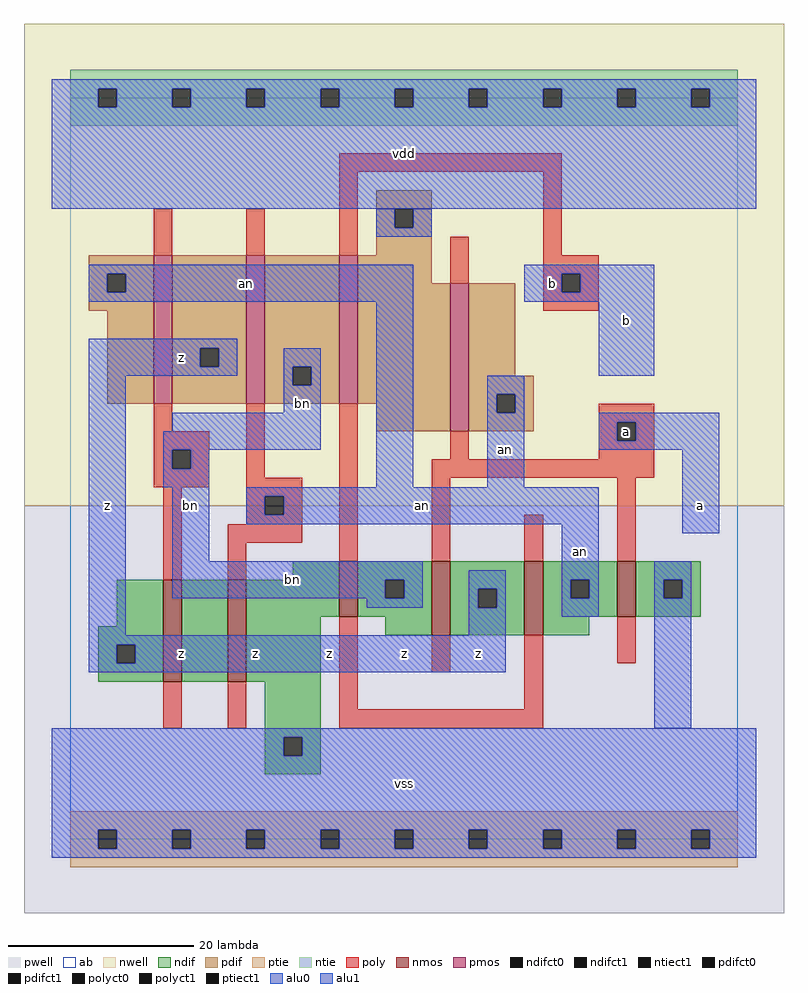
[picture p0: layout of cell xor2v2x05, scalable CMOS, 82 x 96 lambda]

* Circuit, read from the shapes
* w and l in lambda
.subckt xor2v2x05 a an b bn vdd vss z
M1 n1 bn z vss nfet w=11 l=2
M2 vss an n1 vss nfet w=11 l=2
M3 bn b vss vss nfet w=6 l=2
M4 z a bn vss nfet w=8 l=2
M5 an b z vss nfet w=8 l=2
M6 vss a an vss nfet w=6 l=2
M7 z bn an vdd pfet w=16 l=2
M8 bn an z vdd pfet w=16 l=2
M9 vdd b bn vdd pfet w=16 l=2
M10 an a vdd vdd pfet w=16 l=2
.ends

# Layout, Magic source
magic
tech scmos
<< ab >>
rect 0 0 72 80
<< nwell >>
rect -5 36 77 88
<< pwell >>
rect -5 -8 77 36
<< poly >>
rect 29 72 53 74
rect 9 63 11 68
rect 19 63 21 68
rect 29 63 31 72
rect 41 60 43 65
rect 51 63 53 72
rect 51 61 57 63
rect 9 44 11 47
rect 9 42 15 44
rect 9 40 11 42
rect 13 40 15 42
rect 9 38 15 40
rect 19 39 21 47
rect 10 28 12 38
rect 19 37 25 39
rect 19 35 21 37
rect 23 35 25 37
rect 19 34 25 35
rect 17 32 25 34
rect 17 28 19 32
rect 29 30 31 47
rect 51 59 53 61
rect 55 59 57 61
rect 51 57 57 59
rect 57 45 63 47
rect 41 41 43 44
rect 57 43 59 45
rect 61 43 63 45
rect 57 41 63 43
rect 39 39 63 41
rect 39 30 41 39
rect 49 30 51 35
rect 59 30 61 39
rect 10 12 12 17
rect 17 12 19 17
rect 29 14 31 24
rect 39 18 41 22
rect 49 14 51 22
rect 59 19 61 24
rect 29 12 51 14
<< ndif >>
rect 24 28 29 30
rect 5 23 10 28
rect 3 21 10 23
rect 3 19 5 21
rect 7 19 10 21
rect 3 17 10 19
rect 12 17 17 28
rect 19 24 29 28
rect 31 28 39 30
rect 31 26 34 28
rect 36 26 39 28
rect 31 24 39 26
rect 19 17 27 24
rect 21 11 27 17
rect 34 22 39 24
rect 41 27 49 30
rect 41 25 44 27
rect 46 25 49 27
rect 41 22 49 25
rect 51 28 59 30
rect 51 26 54 28
rect 56 26 59 28
rect 51 24 59 26
rect 61 28 68 30
rect 61 26 64 28
rect 66 26 68 28
rect 61 24 68 26
rect 51 22 56 24
rect 21 9 23 11
rect 25 9 27 11
rect 21 7 27 9
<< pdif >>
rect 33 68 39 70
rect 33 66 35 68
rect 37 66 39 68
rect 33 63 39 66
rect 2 61 9 63
rect 2 59 4 61
rect 6 59 9 61
rect 2 57 9 59
rect 4 47 9 57
rect 11 53 19 63
rect 11 51 14 53
rect 16 51 19 53
rect 11 47 19 51
rect 21 51 29 63
rect 21 49 24 51
rect 26 49 29 51
rect 21 47 29 49
rect 31 60 39 63
rect 31 47 41 60
rect 33 44 41 47
rect 43 50 48 60
rect 43 48 50 50
rect 43 46 46 48
rect 48 46 50 48
rect 43 44 50 46
<< alu1 >>
rect -2 81 74 82
rect -2 79 3 81
rect 5 79 11 81
rect 13 79 19 81
rect 21 79 27 81
rect 29 79 35 81
rect 37 79 43 81
rect 45 79 51 81
rect 53 79 59 81
rect 61 79 67 81
rect 69 79 74 81
rect -2 68 74 79
rect 49 61 63 62
rect 49 59 53 61
rect 55 59 63 61
rect 49 58 63 59
rect 2 53 18 54
rect 2 51 14 53
rect 16 51 18 53
rect 2 50 18 51
rect 2 22 6 50
rect 57 50 63 58
rect 57 45 70 46
rect 57 43 59 45
rect 61 43 70 45
rect 57 42 70 43
rect 43 27 47 29
rect 43 25 44 27
rect 46 25 47 27
rect 43 22 47 25
rect 66 33 70 42
rect 2 21 47 22
rect 2 19 5 21
rect 7 19 47 21
rect 2 18 47 19
rect -2 11 74 12
rect -2 9 23 11
rect 25 9 74 11
rect -2 1 74 9
rect -2 -1 3 1
rect 5 -1 11 1
rect 13 -1 19 1
rect 21 -1 27 1
rect 29 -1 35 1
rect 37 -1 43 1
rect 45 -1 51 1
rect 53 -1 59 1
rect 61 -1 67 1
rect 69 -1 74 1
rect -2 -2 74 -1
<< ptie >>
rect 0 1 72 3
rect 0 -1 3 1
rect 5 -1 11 1
rect 13 -1 19 1
rect 21 -1 27 1
rect 29 -1 35 1
rect 37 -1 43 1
rect 45 -1 51 1
rect 53 -1 59 1
rect 61 -1 67 1
rect 69 -1 72 1
rect 0 -3 72 -1
<< ntie >>
rect 0 81 72 83
rect 0 79 3 81
rect 5 79 11 81
rect 13 79 19 81
rect 21 79 27 81
rect 29 79 35 81
rect 37 79 43 81
rect 45 79 51 81
rect 53 79 59 81
rect 61 79 67 81
rect 69 79 72 81
rect 0 77 72 79
<< nmos >>
rect 10 17 12 28
rect 17 17 19 28
rect 29 24 31 30
rect 39 22 41 30
rect 49 22 51 30
rect 59 24 61 30
<< pmos >>
rect 9 47 11 63
rect 19 47 21 63
rect 29 47 31 63
rect 41 44 43 60
<< polyct0 >>
rect 11 40 13 42
rect 21 35 23 37
<< polyct1 >>
rect 53 59 55 61
rect 59 43 61 45
<< ndifct0 >>
rect 34 26 36 28
rect 54 26 56 28
rect 64 26 66 28
<< ndifct1 >>
rect 5 19 7 21
rect 44 25 46 27
rect 23 9 25 11
<< ntiect1 >>
rect 3 79 5 81
rect 11 79 13 81
rect 19 79 21 81
rect 27 79 29 81
rect 35 79 37 81
rect 43 79 45 81
rect 51 79 53 81
rect 59 79 61 81
rect 67 79 69 81
<< ptiect1 >>
rect 3 -1 5 1
rect 11 -1 13 1
rect 19 -1 21 1
rect 27 -1 29 1
rect 35 -1 37 1
rect 43 -1 45 1
rect 51 -1 53 1
rect 59 -1 61 1
rect 67 -1 69 1
<< pdifct0 >>
rect 35 66 37 68
rect 4 59 6 61
rect 24 49 26 51
rect 46 46 48 48
<< pdifct1 >>
rect 14 51 16 53
<< alu0 >>
rect 33 66 35 68
rect 37 66 39 68
rect 33 65 39 66
rect 2 61 37 62
rect 2 59 4 61
rect 6 59 37 61
rect 2 58 37 59
rect 23 51 27 53
rect 23 49 24 51
rect 26 49 27 51
rect 23 46 27 49
rect 11 44 27 46
rect 10 42 27 44
rect 10 40 11 42
rect 13 40 15 42
rect 10 38 15 40
rect 33 38 37 58
rect 45 48 49 50
rect 45 46 46 48
rect 48 46 49 48
rect 45 38 49 46
rect 11 30 15 38
rect 19 37 57 38
rect 19 35 21 37
rect 23 35 57 37
rect 19 34 57 35
rect 11 28 38 30
rect 11 26 34 28
rect 36 26 38 28
rect 32 25 38 26
rect 53 28 57 34
rect 53 26 54 28
rect 56 26 57 28
rect 53 24 57 26
rect 63 28 67 30
rect 63 26 64 28
rect 66 26 67 28
rect 63 12 67 26
<< labels >>
rlabel alu0 13 36 13 36 6 bn
rlabel alu0 25 47 25 47 6 bn
rlabel alu0 24 28 24 28 6 bn
rlabel alu0 47 42 47 42 6 an
rlabel alu0 19 60 19 60 6 an
rlabel alu0 55 31 55 31 6 an
rlabel alu0 38 36 38 36 6 an
rlabel alu1 12 20 12 20 6 z
rlabel alu1 4 36 4 36 6 z
rlabel alu1 12 52 12 52 6 z
rlabel alu1 28 20 28 20 6 z
rlabel alu1 20 20 20 20 6 z
rlabel alu1 36 6 36 6 6 vss
rlabel alu1 44 20 44 20 6 z
rlabel alu1 36 20 36 20 6 z
rlabel alu1 52 60 52 60 6 b
rlabel alu1 36 74 36 74 6 vdd
rlabel alu1 68 36 68 36 6 a
rlabel polyct1 60 44 60 44 6 a
rlabel alu1 60 56 60 56 6 b
<< end >>
